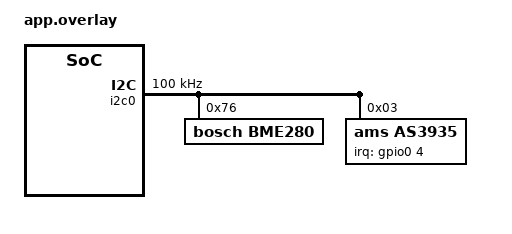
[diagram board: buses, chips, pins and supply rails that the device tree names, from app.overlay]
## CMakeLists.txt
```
cmake_minimum_required(VERSION 3.20.0)

find_package(Zephyr REQUIRED HINTS $ENV{ZEPHYR_BASE})
project(weather_watcher)

target_sources(app PRIVATE src/main.c)
```

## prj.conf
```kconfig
CONFIG_PM=y
CONFIG_PM_DEVICE=y
CONFIG_GPIO=y
CONFIG_I2C=y
CONFIG_SENSOR=y
CONFIG_BME280=y

CONFIG_NETWORKING=y
CONFIG_WIFI=y
CONFIG_WIFI_ESP32=y
CONFIG_BUILD_ONLY_NO_BLOBS=y
CONFIG_NET_UDP=y
CONFIG_NET_IPV4=y
CONFIG_NET_SOCKETS=y

CONFIG_NET_CONFIG_SETTINGS=y
CONFIG_NET_CONFIG_MY_IPV4_ADDR="192.168.0.199"
CONFIG_NET_CONFIG_MY_IPV4_NETMASK="255.255.255.0"
CONFIG_NET_CONFIG_MY_IPV4_GW="192.168.0.1"
```

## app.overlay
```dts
&i2c0 {
    status = "okay";
    clock-frequency = <I2C_BITRATE_STANDARD>;
    pinctrl-0 = <&i2c0_default>;
    pinctrl-names = "default";

    bme280: bme280@76 {
        compatible = "bosch,bme280";
        reg = <0x76>;
    };

    as3935: as3935@3 {
        compatible = "ams,as3935";
        reg = <0x3>;
        irq-gpios = <&gpio0 4 GPIO_ACTIVE_HIGH>;
        status = "okay";
    };
};

&pinctrl {
    i2c0_default: i2c0_default {
        group1 {
            pinmux = <I2C0_SDA_GPIO21>,
                     <I2C0_SCL_GPIO22>;
            bias-pull-up;
        };
    };
};
```

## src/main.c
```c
#include <zephyr/kernel.h>
#include <zephyr/device.h>
#include <zephyr/devicetree.h>
#include <zephyr/drivers/sensor.h>
#include <zephyr/drivers/gpio.h>
#include <zephyr/drivers/i2c.h>
#include <zephyr/net/net_if.h>
#include <zephyr/net/socket.h>
#include <zephyr/net/wifi_mgmt.h>
#include <zephyr/sys/printk.h>
#include <zephyr/pm/pm.h>
#include <esp_sleep.h>
#include <string.h>
#include <stdbool.h>

#define WIFI_SSID "YOUR_HOME_WIFI_NAME"
#define WIFI_PASS "YOUR_WIFI_PASSWORD"
#define SERVER_IP "192.168.0.200"
#define SERVER_PORT 5000
#define SLEEP_TIME_SEC 900
#define WIND_PIN 27

static RTC_DATA_ATTR uint32_t boot_sequence = 0;
static RTC_DATA_ATTR uint32_t accumulated_wind_pulses = 0;
static RTC_DATA_ATTR int64_t last_wind_pulse_timestamp = 0;
static RTC_DATA_ATTR uint32_t total_lightning_strikes = 0;
static RTC_DATA_ATTR uint32_t last_lightning_distance_km = 0;

static const struct device *const bme280_dev = DEVICE_DT_GET(DT_NODELABEL(bme280));
static const struct device *const i2c_bus = DEVICE_DT_GET(DT_NODELABEL(i2c0));
static const struct gpio_dt_spec wind_gpio = GPIO_DT_SPEC_GET_BY_IDX(DT_NODELABEL(gpio0), WIND_PIN, 0);
static struct gpio_callback wind_cb_data;

void wind_pulse_isr(const struct device *port, struct gpio_callback *cb, gpio_port_pins_t pins) {
    int64_t now = k_uptime_get();
    if ((now - last_wind_pulse_timestamp) > 20) {
        accumulated_wind_pulses++;
        last_wind_pulse_timestamp = now;
    }
}

int calibrate_as3935_antenna(void) {
    uint8_t reg_addr = 0x08;
    uint8_t reg_val = 0x00;

    struct i2c_dt_spec as3935_spec = {
        .bus = i2c_bus,
        .addr = 0x03
    };

    if (i2c_write_read_dt(&as3935_spec, &reg_addr, 1, &reg_val, 1) < 0) {
        printk("AS3935: calibration read failed\n");
        return -1;
    }

    reg_val = (reg_val & 0xF0) | 0x08;

    if (i2c_reg_write_byte_dt(&as3935_spec, 0x08, reg_val) < 0) {
        printk("AS3935: calibration write failed\n");
        return -1;
    }

    return 0;
}

int run_network_handshake(void) {
    struct net_if *iface = net_if_get_default();
    struct wifi_connect_req_params params = {
        .ssid = WIFI_SSID,
        .ssid_length = strlen(WIFI_SSID),
        .psk = WIFI_PASS,
        .psk_length = strlen(WIFI_PASS),
        .channel = WIFI_CHANNEL_ANY,
        .security = WIFI_SECURITY_TYPE_PSK,
    };

    if (net_mgmt(NET_REQUEST_WIFI_CONNECT, iface, &params, sizeof(params))) {
        printk("Wi-Fi connect request failed\n");
        return -1;
    }

    int timeout = 30;
    while (!net_if_is_up(iface)) {
        k_msleep(100);
        if (--timeout <= 0) {
            printk("Wi-Fi handshake timeout\n");
            return -1;
        }
    }

    return 0;
}

int main(void) {
    struct sensor_value temp = {0};
    struct sensor_value press = {0};
    struct sensor_value hum = {0};
    char json_buffer[256];
    bool bme280_ok = false;

    boot_sequence++;

    last_wind_pulse_timestamp = 0;

    gpio_pin_configure_dt(&wind_gpio, GPIO_INPUT | GPIO_PULL_UP);
    gpio_pin_interrupt_configure_dt(&wind_gpio, GPIO_INT_EDGE_TO_ACTIVE);
    gpio_init_callback(&wind_cb_data, wind_pulse_isr, BIT(wind_gpio.pin));
    gpio_add_callback(wind_gpio.port, &wind_cb_data);

    if (device_is_ready(bme280_dev) && sensor_sample_fetch(bme280_dev) == 0) {
        sensor_channel_get(bme280_dev, SENSOR_CHAN_AMBIENT_TEMP, &temp);
        sensor_channel_get(bme280_dev, SENSOR_CHAN_PRESS, &press);
        sensor_channel_get(bme280_dev, SENSOR_CHAN_HUMIDITY, &hum);
        bme280_ok = true;
    }

    if (boot_sequence == 1) {
        calibrate_as3935_antenna();
    }

    if (device_is_ready(i2c_bus)) {
        struct i2c_dt_spec as3935_spec = {
            .bus = i2c_bus,
            .addr = 0x03
        };

        uint8_t int_reg_addr = 0x03;
        uint8_t int_val = 0x00;

        if (i2c_write_read_dt(&as3935_spec, &int_reg_addr, 1, &int_val, 1) == 0) {
            if ((int_val & 0x08) == 0x08) {
                total_lightning_strikes++;

                uint8_t dist_reg = 0x07;
                uint8_t dist_val = 0x00;
                if (i2c_write_read_dt(&as3935_spec, &dist_reg, 1, &dist_val, 1) == 0) {
                    last_lightning_distance_km = dist_val & 0x3F;
                }
            }
        }
    }

    float rps = (float)accumulated_wind_pulses / (float)SLEEP_TIME_SEC;
    float wind_kmh = (rps * 2.5) * 1.60934;

    snprintf(json_buffer, sizeof(json_buffer),
             "{\"id\":\"storm_station_01\",\"boot\":%u,\"temp\":%.2f,\"press\":%.1f,\"hum\":%.1f,\"wind\":%.2f,\"lt_count\":%u,\"lt_dist\":%u}",
             boot_sequence,
             bme280_ok ? sensor_value_to_double(&temp) : 0.0,
             bme280_ok ? sensor_value_to_double(&press) * 10.0 : 0.0,
             bme280_ok ? sensor_value_to_double(&hum) : 0.0,
             wind_kmh,
             total_lightning_strikes,
             last_lightning_distance_km);

    if (run_network_handshake() == 0) {
        int sock = socket(AF_INET, SOCK_DGRAM, IPPROTO_UDP);
        if (sock >= 0) {
            struct sockaddr_in srv_addr = {
                .sin_family = AF_INET,
                .sin_port = htons(SERVER_PORT)
            };
            inet_pton(AF_INET, SERVER_IP, &srv_addr.sin_addr);
            sendto(sock, json_buffer, strlen(json_buffer), 0, (struct sockaddr *)&srv_addr, sizeof(srv_addr));
            close(sock);
        }
    }

    accumulated_wind_pulses = 0;

    esp_sleep_enable_timer_wakeup((uint64_t)SLEEP_TIME_SEC * 1000000);
    pm_state_force(0, &(struct pm_state_info){.state = PM_STATE_SOFT_OFF});
    k_sleep(K_FOREVER);

    return 0;
}
```
